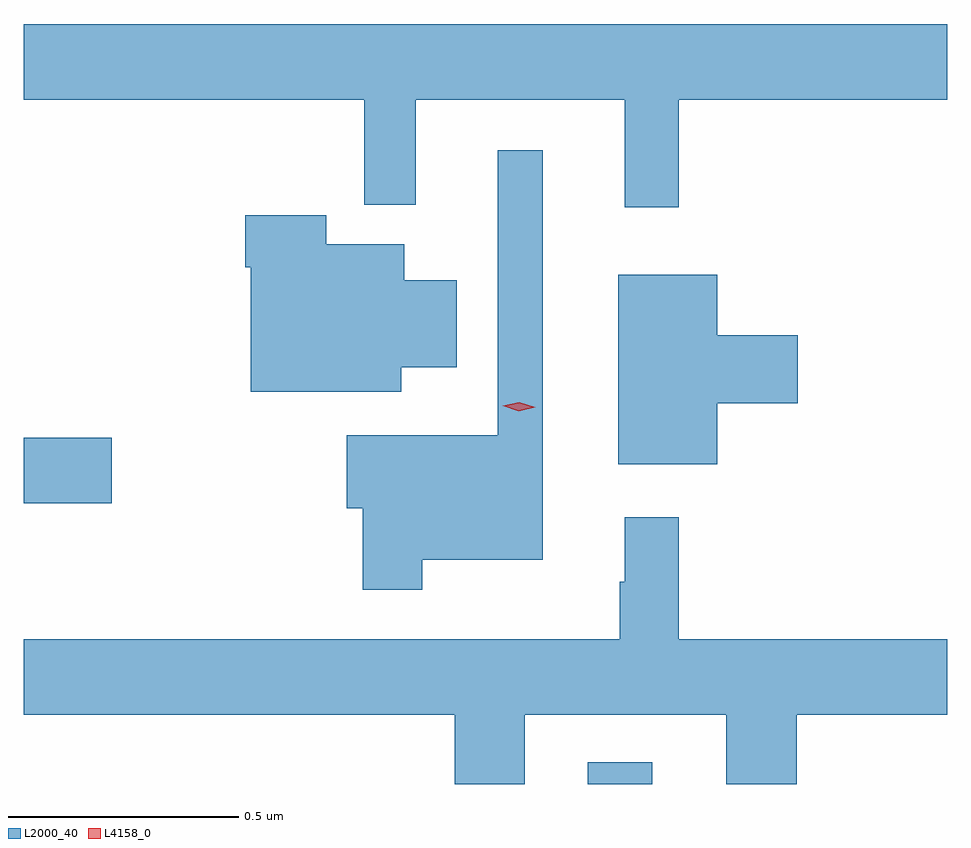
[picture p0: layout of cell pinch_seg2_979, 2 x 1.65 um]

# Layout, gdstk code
import gdstk
lib = gdstk.Library(unit=1e-6, precision=1e-09)
def R(c, l, rs):  # rectangles x0, y0, x1, y1
    for r in rs: c.add(gdstk.rectangle(r[:2], r[2:], *l))
def P(c, l, *ps):  # polygons
    for p in ps: c.add(gdstk.Polygon(p, *l))
L2000_40 = (2000, 40)
L4158_0 = (4158, 0)

pinch_seg2_979 = lib.new_cell('pinch_seg2_979')
R(pinch_seg2_979, L2000_40, [(340.589,650.15,340.729,650.197), (339.368,650.758,339.559,650.9)])
P(pinch_seg2_979, L2000_40, [(340.787,651.632),(341.368,651.632),(341.368,651.796),(339.368,651.796),(339.368,651.632),(340.105,651.632),(340.105,651.404),(340.217,651.404),(340.217,651.632),(340.67,651.632),(340.67,651.399),(340.787,651.399)],
  [(340.231,650.636),(340.492,650.636),(340.492,651.523),(340.395,651.523),(340.395,650.905),(340.068,650.905),(340.068,650.747),(340.102,650.747),(340.102,650.571),(340.231,650.571)],
  [(340.186,651.053),(340.306,651.053),(340.306,651.241),(340.192,651.241),(340.192,651.319),(340.023,651.319),(340.023,651.382),(339.848,651.382),(339.848,651.269),(339.86,651.269),(339.86,650.999),(340.186,650.999)],
  [(340.87,650.975),(341.044,650.975),(341.044,651.122),(340.87,651.122),(340.87,651.253),(340.655,651.253),(340.655,650.843),(340.87,650.843)],
  [(340.453,650.3),(340.889,650.3),(340.889,650.15),(341.042,650.15),(341.042,650.3),(341.368,650.3),(341.368,650.464),(340.787,650.464),(340.787,650.728),(340.67,650.728),(340.67,650.588),(340.659,650.588),(340.659,650.464),(339.368,650.464),(339.368,650.3),(340.301,650.3),(340.301,650.15),(340.453,650.15)])
P(pinch_seg2_979, L4158_0, [(340.44,650.957),(340.405,650.969),(340.405,650.969),(340.405,650.969),(340.441,650.977),(340.476,650.966),(340.476,650.966),(340.476,650.966)])

lib.write_gds('pinch_seg2_979.gds')
